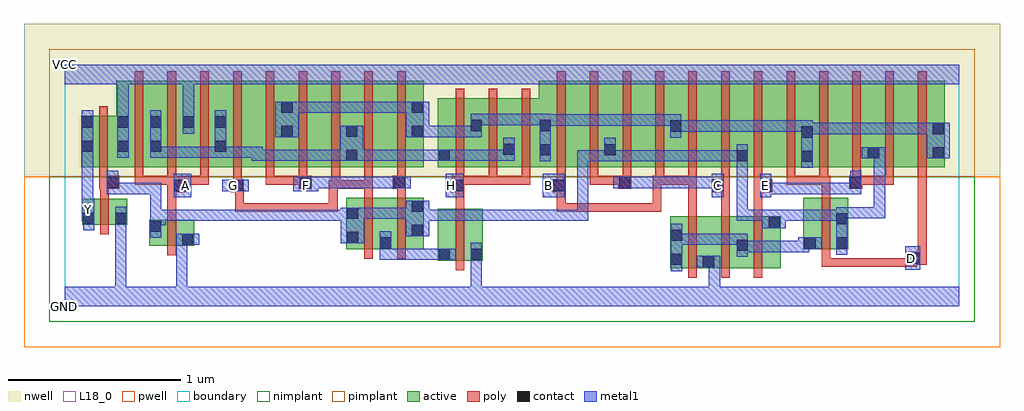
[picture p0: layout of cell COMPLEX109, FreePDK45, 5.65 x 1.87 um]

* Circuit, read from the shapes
.subckt COMPLEX109 A B C D E F G GND H VCC Y
M1 GND n1 Y VSUBS nfet w=0.15u l=0.05u
M2 GND A n1 VSUBS nfet w=0.15u l=0.05u
M3 n2 G n1 VSUBS nfet w=0.3u l=0.05u
M4 n1 F n2 VSUBS nfet w=0.3u l=0.05u
M5 GND H n2 VSUBS nfet w=0.3u l=0.05u
M6 GND B n3 VSUBS nfet w=0.3u l=0.05u
M7 n3 C GND VSUBS nfet w=0.3u l=0.05u
M8 n1 E n3 VSUBS nfet w=0.3u l=0.05u
M9 n1 D n3 VSUBS nfet w=0.3u l=0.05u
M10 VCC n1 Y n4 pfet w=0.3u l=0.05u
M11 n5 A VCC n4 pfet w=0.5u l=0.05u m=3
M12 n6 G n5 n4 pfet w=0.5u l=0.05u
M13 n7 F n6 n4 pfet w=0.5u l=0.05u
M14 n8 F n7 n4 pfet w=0.5u l=0.05u
M15 n5 G n8 n4 pfet w=0.5u l=0.05u
M16 n9 G n5 n4 pfet w=0.5u l=0.05u
M17 n7 F n9 n4 pfet w=0.5u l=0.05u
M18 n7 H n5 n4 pfet w=0.4u l=0.05u m=3
M19 n10 B n7 n4 pfet w=0.5u l=0.05u
M20 n1 C n10 n4 pfet w=0.5u l=0.05u
M21 n11 C n1 n4 pfet w=0.5u l=0.05u
M22 n7 B n11 n4 pfet w=0.5u l=0.05u
M23 n12 B n7 n4 pfet w=0.5u l=0.05u
M24 n1 C n12 n4 pfet w=0.5u l=0.05u
M25 n13 E n1 n4 pfet w=0.5u l=0.05u
M26 n7 D n13 n4 pfet w=0.5u l=0.05u
M27 n14 D n7 n4 pfet w=0.5u l=0.05u
M28 n1 E n14 n4 pfet w=0.5u l=0.05u
M29 n15 E n1 n4 pfet w=0.5u l=0.05u
M30 n7 D n15 n4 pfet w=0.5u l=0.05u
.ends

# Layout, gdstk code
import gdstk
lib = gdstk.Library(unit=1e-6, precision=1e-09)
def R(c, l, rs):  # rectangles x0, y0, x1, y1
    for r in rs: c.add(gdstk.rectangle(r[:2], r[2:], *l))
def A(c, l, x, y, w, h, nx, ny, dx, dy):  # array of equal rectangles
    R(c, l, [(x+i*dx, y+j*dy, x+i*dx+w, y+j*dy+h) for i in range(nx) for j in range(ny)])
active = (1, 0)
pwell = (2, 0)
nwell = (3, 0)
nimplant = (4, 0)
pimplant = (5, 0)
poly = (9, 0)
contact = (10, 0)
metal1 = (11, 0)
L18_0 = (18, 0)
boundary = (235, 0)

complex109 = lib.new_cell('COMPLEX109')
A(complex109, active, 3.5, 0.805, 0.075, 0.395, 3, 1, 0.76, 0)
R(complex109, active, [(3.505,0.222,3.765,0.522), (3.69,0.222,3.96,0.522), (3.69,0.222,3.765,0.392), (3.885,0.222,4.145,0.522), (3.505,0.235,3.58,0.522), (2.16,0.265,2.42,0.565), (2.16,0.265,2.235,0.462), (2.345,0.265,2.42,0.427), (3.885,0.317,3.96,0.392), (1.63,0.33,1.705,0.63), (1.63,0.33,1.895,0.63), (1.82,0.33,2.08,0.63), (1.82,0.33,1.895,0.497), (2.005,0.33,2.08,0.63), (4.07,0.33,4.145,0.522), (4.277,0.33,4.352,0.63), (4.277,0.33,4.537,0.63), (4.462,0.33,4.537,0.63), (0.49,0.352,0.75,0.502), (0.675,0.352,0.75,0.502), (0.49,0.427,0.565,0.502), (0.102,0.472,0.177,0.622), (0.102,0.472,0.362,0.622), (0.287,0.472,0.362,0.622), (0.095,0.805,0.17,1.105), (0.095,0.805,0.375,1.105), (0.3,0.805,0.375,1.105), (0.3,0.805,0.565,1.305), (0.49,0.805,0.565,1.2), (0.49,0.805,0.755,1.305), (0.68,0.805,0.94,1.305), (0.68,0.805,0.755,1.305), (0.865,0.805,0.94,1.2), (0.865,0.805,1.095,1.305), (1.095,0.805,1.325,1.305), (1.25,0.805,1.475,1.305), (1.475,0.805,1.7,1.305), (1.625,0.805,1.7,1.07), (1.625,0.805,1.855,1.305), (1.855,0.805,2.08,1.305), (2.005,0.805,2.08,1.2), (2.16,0.805,2.235,1.07), (2.16,0.805,2.42,1.205), (2.345,0.805,2.42,1.2), (2.345,0.805,2.61,1.205), (2.535,0.805,2.61,1.07), (2.535,0.805,2.82,1.205), (2.745,0.805,2.82,1.2), (2.745,0.805,2.97,1.305), (2.97,0.805,3.195,1.305), (3.12,0.805,3.195,1.07), (3.12,0.805,3.35,1.305), (3.35,0.805,3.575,1.305), (3.5,0.805,3.73,1.305), (3.73,0.805,3.96,1.305), (3.885,0.805,4.11,1.305), (3.885,0.805,3.96,1.07), (4.11,0.805,4.335,1.305), (4.26,0.805,4.49,1.305), (4.49,0.805,4.72,1.305), (4.645,0.805,4.87,1.305), (4.645,0.805,4.72,1.07), (4.87,0.805,5.095,1.305), (1.25,0.807,1.325,1.2)])
R(complex109, pwell, [(-0.235,-0.235,5.415,0.75)])
R(complex109, nwell, [(-0.235,0.75,5.415,1.635)])
R(complex109, nimplant, [(-0.09,-0.09,5.27,0.75)])
R(complex109, pimplant, [(-0.09,0.75,5.27,1.49)])
A(complex109, poly, 3.61, 0.167, 0.05, 0.41, 3, 1, 0.19, 0)
A(complex109, poly, 0.405, 0.705, 0.05, 0.095, 3, 1, 0.19, 0)
A(complex109, poly, 2.265, 0.705, 0.05, 0.095, 3, 1, 0.19, 0)
A(complex109, poly, 3.04, 0.705, 0.05, 0.095, 4, 1, 0.19, 0)
A(complex109, poly, 4.18, 0.705, 0.05, 0.095, 4, 1, 0.19, 0)
A(complex109, poly, 0.405, 0.75, 0.05, 0.61, 9, 1, 0.19, 0)
A(complex109, poly, 2.265, 0.75, 0.05, 0.51, 3, 1, 0.19, 0)
A(complex109, poly, 2.85, 0.75, 0.05, 0.61, 12, 1, 0.19, 0)
R(complex109, poly, [(2.265,0.21,2.315,0.62), (4.382,0.23,4.432,0.28), (4.382,0.23,4.432,0.28), (4.382,0.23,4.432,0.28), (4.382,0.23,4.432,0.325), (4.382,0.23,4.565,0.28), (4.515,0.23,4.565,0.28), (4.515,0.23,4.565,0.28), (4.515,0.23,4.565,0.28), (4.515,0.23,4.565,0.28), (4.515,0.23,4.565,0.28), (4.515,0.23,4.75,0.28), (4.7,0.23,4.75,0.28), (4.7,0.23,4.75,0.28), (4.7,0.23,4.75,0.28), (4.7,0.23,4.932,0.28), (4.882,0.23,4.932,0.28), (4.882,0.23,4.932,0.28), (4.882,0.23,4.932,0.28), (4.882,0.23,4.932,0.292), (4.882,0.242,4.932,0.292), (4.882,0.242,4.932,0.292), (4.882,0.242,4.99,0.317), (4.94,0.267,4.99,0.8), (1.735,0.275,1.785,0.685), (1.925,0.275,1.975,0.685), (4.382,0.275,4.432,0.685), (0.595,0.297,0.645,0.557), (0.207,0.417,0.257,0.677), (0.595,0.507,0.645,0.712), (3.61,0.527,3.66,0.755), (3.8,0.527,3.85,0.712), (3.99,0.527,4.04,0.712), (0.987,0.547,1.037,0.597), (0.987,0.547,1.037,0.597), (0.987,0.547,1.037,0.597), (0.987,0.547,1.037,0.597), (0.987,0.547,1.037,0.597), (0.987,0.547,1.17,0.597), (0.987,0.547,1.037,0.712), (1.12,0.547,1.17,0.597), (1.12,0.547,1.347,0.597), (1.297,0.547,1.347,0.597), (1.297,0.547,1.347,0.597), (1.297,0.547,1.347,0.597), (1.297,0.547,1.58,0.597), (1.53,0.547,1.58,0.597), (1.53,0.547,1.58,0.597), (1.53,0.547,1.58,0.597), (1.53,0.547,1.58,0.73), (2.85,0.547,2.9,0.597), (2.85,0.547,2.9,0.597), (2.85,0.547,2.9,0.597), (2.85,0.547,2.9,0.597), (2.85,0.547,2.9,0.597), (2.85,0.547,3.09,0.597), (2.85,0.547,2.9,0.712), (3.04,0.547,3.09,0.597), (3.04,0.547,3.222,0.597), (3.172,0.547,3.222,0.597), (3.172,0.547,3.222,0.597), (3.172,0.547,3.222,0.597), (3.172,0.547,3.455,0.597), (3.405,0.547,3.455,0.597), (3.405,0.547,3.455,0.597), (3.405,0.547,3.455,0.597), (3.405,0.547,3.455,0.597), (3.405,0.547,3.455,0.597), (3.405,0.547,3.455,0.755), (2.265,0.57,2.315,0.712), (0.207,0.627,0.257,0.73), (1.735,0.635,1.785,0.73), (1.925,0.635,1.975,0.73), (4.382,0.635,4.432,0.755), (0.595,0.662,0.702,0.755), (0.962,0.662,1.037,0.737), (2.24,0.662,2.315,0.755), (2.825,0.662,2.9,0.737), (3.747,0.662,3.85,0.737), (3.99,0.662,4.097,0.737), (0.2,0.68,0.315,0.755), (1.355,0.68,1.43,0.755), (1.53,0.68,1.58,0.73), (1.53,0.68,1.58,0.73), (1.53,0.68,1.595,0.73), (1.545,0.68,1.595,0.8), (1.545,0.68,1.785,0.73), (1.735,0.68,1.785,0.73), (1.735,0.68,1.785,0.73), (1.735,0.68,1.785,0.73), (1.735,0.68,1.785,0.8), (1.9,0.68,1.975,0.755), (3.205,0.68,3.28,0.755), (4.542,0.68,4.617,0.755), (0.975,0.687,1.025,0.8), (2.85,0.687,2.9,0.8), (3.8,0.687,3.85,0.8), (3.99,0.687,4.04,0.8), (0.2,0.705,0.25,0.8), (0.405,0.705,0.455,0.755), (0.405,0.705,0.455,0.755), (0.405,0.705,0.455,0.755), (0.405,0.705,0.645,0.755), (0.652,0.705,0.835,0.755), (0.785,0.705,0.835,0.755), (0.785,0.705,0.835,0.755), (0.785,0.705,0.835,0.755), (1.165,0.705,1.215,0.755), (1.165,0.705,1.215,0.8), (1.165,0.705,1.405,0.755), (1.355,0.705,1.405,0.755), (1.355,0.705,1.405,0.755), (1.355,0.705,1.405,0.8), (1.925,0.705,1.975,0.8), (2.265,0.705,2.315,0.755), (2.265,0.705,2.315,0.755), (2.265,0.705,2.505,0.755), (2.455,0.705,2.505,0.755), (2.455,0.705,2.505,0.755), (2.455,0.705,2.505,0.755), (2.455,0.705,2.695,0.755), (2.645,0.705,2.695,0.755), (3.04,0.705,3.09,0.755), (3.04,0.705,3.255,0.755), (3.205,0.705,3.255,0.755), (3.205,0.705,3.255,0.755), (3.405,0.705,3.47,0.755), (3.42,0.705,3.66,0.755), (3.61,0.705,3.66,0.755), (3.61,0.705,3.66,0.755), (3.61,0.705,3.66,0.755), (4.18,0.705,4.23,0.755), (4.18,0.705,4.23,0.755), (4.18,0.705,4.23,0.755), (4.18,0.705,4.42,0.755), (4.37,0.705,4.432,0.755), (4.567,0.705,4.617,0.755), (4.567,0.705,4.617,0.755), (4.567,0.705,4.8,0.755), (4.75,0.705,4.8,0.755), (0.2,0.75,0.25,1.16)])
A(complex109, contact, 0.305, 1.035, 0.065, 0.065, 3, 1, 0.19, 0)
R(complex109, contact, [(3.695,0.227,3.76,0.292), (3.51,0.24,3.575,0.305), (4.887,0.247,4.952,0.312), (2.165,0.27,2.23,0.335), (2.35,0.27,2.415,0.335), (3.89,0.322,3.955,0.387), (1.825,0.335,1.89,0.4), (4.282,0.335,4.347,0.4), (4.467,0.335,4.532,0.4), (0.68,0.357,0.745,0.422), (1.635,0.367,1.7,0.432), (3.51,0.38,3.575,0.445), (2.01,0.407,2.075,0.472), (0.495,0.432,0.56,0.497), (4.075,0.452,4.14,0.517), (4.467,0.475,4.532,0.54), (0.107,0.477,0.172,0.542), (0.292,0.477,0.357,0.542), (1.635,0.507,1.7,0.572), (2.01,0.547,2.075,0.612), (0.632,0.667,0.697,0.732), (0.967,0.667,1.032,0.732), (2.245,0.667,2.31,0.732), (2.83,0.667,2.895,0.732), (3.752,0.667,3.817,0.732), (4.027,0.667,4.092,0.732), (0.245,0.685,0.31,0.75), (1.36,0.685,1.425,0.75), (1.905,0.685,1.97,0.75), (3.21,0.685,3.275,0.75), (4.547,0.685,4.612,0.75), (4.265,0.837,4.33,0.902), (3.89,0.84,3.955,0.905), (1.63,0.842,1.695,0.907), (2.165,0.842,2.23,0.907), (4.65,0.857,4.715,0.922), (5.025,0.857,5.09,0.922), (2.75,0.875,2.815,0.94), (3.125,0.875,3.19,0.94), (2.54,0.877,2.605,0.942), (0.1,0.895,0.165,0.96), (0.305,0.895,0.37,0.96), (0.495,0.895,0.56,0.96), (0.87,0.895,0.935,0.96), (4.265,0.977,4.33,1.042), (1.255,0.98,1.32,1.045), (2.01,0.98,2.075,1.045), (1.63,0.982,1.695,1.047), (5.025,0.997,5.09,1.062), (3.505,1.012,3.57,1.077), (2.35,1.015,2.415,1.08), (2.75,1.015,2.815,1.08), (0.1,1.035,0.165,1.1), (0.87,1.035,0.935,1.1), (1.255,1.12,1.32,1.185), (2.01,1.12,2.075,1.185)])
R(complex109, metal1, [(0,0,5.18,0.115), (0.292,0.05,0.357,0.115), (0.292,0.05,0.357,0.115), (0.292,0.05,0.357,0.115), (0.292,0.05,0.357,0.115), (0.292,0.05,0.357,0.507), (0.645,0.05,0.71,0.115), (0.645,0.05,0.71,0.115), (0.645,0.05,0.71,0.115), (0.645,0.05,0.71,0.115), (0.645,0.05,0.71,0.115), (0.645,0.05,0.71,0.115), (0.645,0.05,0.71,0.422), (2.35,0.05,2.415,0.115), (2.35,0.05,2.415,0.115), (2.35,0.05,2.415,0.115), (2.35,0.05,2.415,0.115), (2.35,0.05,2.415,0.3), (3.73,0.05,3.795,0.115), (3.73,0.05,3.795,0.115), (3.73,0.05,3.795,0.115), (3.73,0.05,3.795,0.115), (3.73,0.05,3.795,0.292), (3.51,0.205,3.575,0.48), (4.867,0.212,4.952,0.347), (3.66,0.227,3.795,0.292), (2.35,0.235,2.415,0.37), (1.825,0.27,2.135,0.335), (1.825,0.27,1.89,0.365), (2.07,0.27,2.135,0.335), (2.07,0.27,2.195,0.335), (2.13,0.27,2.265,0.335), (3.89,0.287,3.955,0.422), (1.825,0.3,1.89,0.365), (1.825,0.3,1.89,0.435), (4.467,0.3,4.532,0.575), (3.89,0.315,4.092,0.38), (4.027,0.315,4.092,0.38), (4.027,0.315,4.092,0.38), (4.027,0.315,4.092,0.38), (4.027,0.315,4.312,0.38), (4.247,0.315,4.312,0.4), (4.247,0.335,4.312,0.4), (4.247,0.335,4.382,0.4), (0.645,0.357,0.78,0.422), (3.51,0.357,3.585,0.422), (3.52,0.357,3.585,0.422), (3.52,0.357,3.817,0.422), (3.752,0.357,3.817,0.422), (3.752,0.357,3.947,0.422), (3.882,0.357,3.947,0.422), (3.882,0.357,3.955,0.422), (1.6,0.367,1.735,0.572), (0.495,0.397,0.56,0.535), (1.975,0.407,2.11,0.612), (0.107,0.442,0.172,0.577), (0.292,0.442,0.357,0.507), (0.292,0.442,0.357,0.507), (0.292,0.442,0.357,0.577), (4.04,0.452,4.175,0.56), (0.495,0.47,0.585,0.535), (0.495,0.47,0.56,0.715), (0.52,0.47,0.585,0.56), (0.1,0.492,0.172,0.627), (0.52,0.495,0.722,0.56), (0.657,0.495,0.722,0.56), (0.657,0.495,0.722,0.56), (0.657,0.495,0.722,0.56), (0.657,0.495,1.01,0.56), (0.945,0.495,1.01,0.56), (0.945,0.495,1.01,0.56), (0.945,0.495,1.01,0.56), (0.945,0.495,1.147,0.56), (1.082,0.495,1.147,0.56), (1.082,0.495,1.147,0.56), (1.082,0.495,1.147,0.56), (1.082,0.495,1.285,0.56), (1.22,0.495,1.285,0.56), (1.22,0.495,1.285,0.56), (1.22,0.495,1.285,0.56), (1.22,0.495,1.492,0.56), (1.427,0.495,1.492,0.56), (1.427,0.495,1.605,0.56), (1.54,0.495,1.605,0.56), (1.54,0.495,1.665,0.56), (2.045,0.495,2.11,0.56), (2.045,0.495,2.11,0.56), (2.045,0.495,2.402,0.56), (2.337,0.495,2.402,0.56), (2.337,0.495,2.402,0.56), (2.337,0.495,2.402,0.56), (2.337,0.495,2.552,0.56), (2.487,0.495,2.552,0.56), (2.487,0.495,2.552,0.56), (2.487,0.495,2.552,0.56), (2.487,0.495,2.69,0.56), (2.625,0.495,2.69,0.56), (2.625,0.495,2.895,0.56), (2.83,0.495,2.895,0.56), (2.83,0.495,2.895,0.56), (2.83,0.495,2.895,0.56), (2.83,0.495,3.032,0.56), (2.967,0.495,3.032,0.56), (2.967,0.495,3.032,0.905), (3.89,0.495,3.955,0.56), (3.89,0.495,4.105,0.56), (3.89,0.495,3.955,0.87), (4.04,0.495,4.105,0.56), (4.04,0.495,4.105,0.56), (4.11,0.495,4.33,0.56), (4.265,0.495,4.33,0.56), (4.265,0.495,4.33,0.56), (4.265,0.495,4.33,0.56), (4.265,0.495,4.475,0.56), (4.41,0.495,4.475,0.56), (4.41,0.495,4.532,0.56), (1.67,0.507,1.742,0.572), (1.677,0.507,1.742,0.572), (1.677,0.507,1.89,0.572), (1.825,0.507,1.89,0.572), (1.825,0.507,1.89,0.572), (1.825,0.507,1.89,0.572), (1.825,0.507,2.04,0.572), (4.467,0.51,4.657,0.575), (4.592,0.51,4.657,0.575), (4.592,0.51,4.75,0.575), (4.685,0.51,4.75,0.575), (4.685,0.51,4.75,0.922), (0.107,0.512,0.172,0.577), (0.1,0.562,0.165,0.925), (0.632,0.632,0.732,0.767), (2.207,0.632,2.31,0.767), (2.767,0.632,2.895,0.767), (3.747,0.632,3.817,0.767), (4.027,0.632,4.092,0.767), (0.245,0.65,0.31,0.715), (0.245,0.65,0.31,0.715), (0.245,0.65,0.31,0.785), (0.245,0.65,0.447,0.715), (0.382,0.65,0.447,0.715), (0.382,0.65,0.56,0.715), (0.495,0.65,0.56,0.715), (4.027,0.65,4.092,0.715), (4.027,0.65,4.092,0.715), (4.027,0.65,4.33,0.715), (4.265,0.65,4.33,0.715), (4.265,0.65,4.33,0.715), (4.265,0.65,4.33,0.715), (4.265,0.65,4.467,0.715), (4.402,0.65,4.467,0.715), (4.402,0.65,4.467,0.715), (4.402,0.65,4.467,0.715), (4.402,0.65,4.612,0.715), (4.547,0.65,4.612,0.785), (0.912,0.667,1.067,0.732), (1.325,0.667,1.467,0.75), (1.402,0.685,1.492,0.75), (1.427,0.685,1.492,0.75), (1.427,0.685,1.605,0.75), (1.54,0.685,1.605,0.75), (1.54,0.685,1.752,0.75), (1.687,0.685,1.752,0.75), (1.687,0.685,1.752,0.75), (1.687,0.685,1.752,0.75), (1.687,0.685,1.89,0.75), (1.825,0.685,1.89,0.75), (1.825,0.685,1.935,0.75), (1.87,0.685,2.005,0.75), (3.175,0.685,3.31,0.75), (3.245,0.685,3.432,0.75), (3.367,0.685,3.432,0.75), (3.367,0.685,3.447,0.75), (3.382,0.685,3.447,0.75), (3.382,0.685,3.585,0.75), (3.52,0.685,3.585,0.75), (3.52,0.685,3.585,0.75), (3.52,0.685,3.585,0.75), (3.52,0.685,3.812,0.75), (3.747,0.685,3.812,0.75), (3.747,0.685,3.812,0.75), (4.265,0.802,4.33,1.077), (3.89,0.805,3.955,0.87), (3.89,0.805,3.955,0.87), (3.89,0.805,3.955,0.94), (2.75,0.84,2.815,1.115), (2.967,0.84,3.032,0.905), (2.967,0.84,3.032,0.905), (2.967,0.84,3.032,0.905), (2.967,0.84,3.032,0.905), (2.967,0.84,3.032,0.905), (2.967,0.84,3.19,0.905), (3.125,0.84,3.19,0.905), (3.125,0.84,3.19,0.905), (3.125,0.84,3.19,0.975), (3.125,0.84,3.432,0.905), (3.367,0.84,3.432,0.905), (3.367,0.84,3.447,0.905), (3.382,0.84,3.447,0.905), (3.382,0.84,3.587,0.905), (3.522,0.84,3.587,0.905), (3.522,0.84,3.587,0.905), (3.522,0.84,3.587,0.905), (3.522,0.84,3.817,0.905), (3.752,0.84,3.817,0.905), (3.752,0.84,3.817,0.905), (3.752,0.84,3.817,0.905), (3.752,0.84,3.955,0.905), (1.082,0.842,1.147,0.907), (1.082,0.842,1.147,0.907), (1.082,0.842,1.355,0.907), (1.082,0.842,1.147,0.925), (1.29,0.842,1.355,0.907), (1.29,0.842,1.355,0.907), (1.29,0.842,1.355,0.907), (1.29,0.842,1.492,0.907), (1.427,0.842,1.492,0.907), (1.427,0.842,1.605,0.907), (1.54,0.842,1.605,0.907), (1.54,0.842,1.66,0.907), (1.595,0.842,1.73,1.047), (1.665,0.842,1.752,0.907), (1.687,0.842,1.752,0.907), (1.687,0.842,1.89,0.907), (1.825,0.842,1.89,0.907), (1.825,0.842,1.89,0.907), (1.825,0.842,1.89,0.907), (1.825,0.842,2.027,0.907), (1.962,0.842,2.027,0.907), (1.962,0.842,2.195,0.907), (2.13,0.842,2.265,0.907), (2.2,0.842,2.402,0.907), (2.337,0.842,2.402,0.907), (2.337,0.842,2.402,0.907), (2.337,0.842,2.402,0.907), (2.337,0.842,2.552,0.907), (2.487,0.842,2.552,0.907), (2.487,0.842,2.605,0.907), (2.54,0.842,2.605,0.977), (4.615,0.857,4.75,0.922), (4.685,0.857,4.75,0.922), (4.685,0.857,4.75,0.922), (4.99,0.857,5.125,1.062), (0.1,0.86,0.165,1.135), (0.305,0.86,0.37,1.135), (0.495,0.86,0.56,1.135), (0.495,0.86,0.585,0.925), (0.52,0.86,0.585,0.925), (0.52,0.86,0.722,0.925), (0.657,0.86,0.722,0.925), (0.657,0.86,0.722,0.925), (0.657,0.86,0.722,0.925), (0.657,0.86,0.935,0.925), (0.87,0.86,0.935,0.925), (0.87,0.86,0.935,0.925), (0.87,0.86,0.935,1.135), (0.87,0.86,1.147,0.925), (3.505,0.977,3.57,1.112), (1.22,0.98,1.355,1.185), (1.975,0.98,2.11,1.185), (2.045,0.98,2.11,1.045), (2.045,0.98,2.11,1.045), (2.045,0.98,2.415,1.045), (2.35,0.98,2.415,1.045), (2.35,0.98,2.415,1.045), (2.35,0.98,2.415,1.115), (4.265,0.997,4.475,1.062), (4.41,0.997,4.475,1.062), (4.41,0.997,4.475,1.062), (4.41,0.997,4.475,1.062), (4.41,0.997,4.657,1.062), (4.592,0.997,4.657,1.062), (4.592,0.997,4.67,1.062), (4.605,0.997,4.67,1.062), (4.605,0.997,4.795,1.062), (4.73,0.997,4.795,1.062), (4.73,0.997,4.807,1.062), (4.742,0.997,4.807,1.062), (4.742,0.997,5.055,1.062), (4.99,0.997,5.055,1.062), (4.99,0.997,5.055,1.062), (0.685,1,0.75,1.135), (3.505,1.012,3.585,1.077), (3.52,1.012,3.585,1.077), (3.52,1.012,3.817,1.077), (3.752,1.012,3.817,1.077), (3.752,1.012,3.817,1.077), (3.752,1.012,3.817,1.077), (3.752,1.012,3.955,1.077), (3.89,1.012,3.955,1.077), (3.89,1.012,4.092,1.077), (4.027,1.012,4.092,1.077), (4.027,1.012,4.092,1.077), (4.027,1.012,4.092,1.077), (4.027,1.012,4.33,1.077), (4.265,1.012,4.33,1.077), (4.265,1.012,4.33,1.077), (2.75,1.047,2.827,1.112), (2.762,1.047,2.827,1.112), (2.762,1.047,3.032,1.112), (2.967,1.047,3.032,1.112), (2.967,1.047,3.032,1.112), (2.967,1.047,3.032,1.112), (2.967,1.047,3.295,1.112), (3.23,1.047,3.295,1.112), (3.23,1.047,3.295,1.112), (3.23,1.047,3.295,1.112), (3.23,1.047,3.432,1.112), (3.367,1.047,3.432,1.112), (3.367,1.047,3.447,1.112), (3.382,1.047,3.447,1.112), (3.382,1.047,3.57,1.112), (2.35,1.05,2.552,1.115), (2.487,1.05,2.552,1.115), (2.487,1.05,2.552,1.115), (2.487,1.05,2.552,1.115), (2.487,1.05,2.69,1.115), (2.625,1.05,2.69,1.115), (2.625,1.05,2.815,1.115), (0.305,1.07,0.37,1.35), (0.685,1.07,0.75,1.35), (1.29,1.12,1.355,1.185), (1.29,1.12,1.355,1.185), (1.29,1.12,1.492,1.185), (1.427,1.12,1.492,1.185), (1.427,1.12,1.605,1.185), (1.54,1.12,1.605,1.185), (1.54,1.12,1.752,1.185), (1.687,1.12,1.752,1.185), (1.687,1.12,1.752,1.185), (1.687,1.12,1.752,1.185), (1.687,1.12,1.89,1.185), (1.825,1.12,1.89,1.185), (1.825,1.12,1.89,1.185), (1.825,1.12,1.89,1.185), (1.825,1.12,2.04,1.185), (0,1.285,5.18,1.4)])
R(complex109, L18_0, [(0,0,5.18,0.115), (0.292,0.05,0.357,0.115), (0.292,0.05,0.357,0.115), (0.292,0.05,0.357,0.115), (0.292,0.05,0.357,0.115), (0.292,0.05,0.357,0.507), (0.645,0.05,0.71,0.115), (0.645,0.05,0.71,0.115), (0.645,0.05,0.71,0.115), (0.645,0.05,0.71,0.115), (0.645,0.05,0.71,0.115), (0.645,0.05,0.71,0.115), (0.645,0.05,0.71,0.422), (2.35,0.05,2.415,0.115), (2.35,0.05,2.415,0.115), (2.35,0.05,2.415,0.115), (2.35,0.05,2.415,0.115), (2.35,0.05,2.415,0.3), (3.73,0.05,3.795,0.115), (3.73,0.05,3.795,0.115), (3.73,0.05,3.795,0.115), (3.73,0.05,3.795,0.115), (3.73,0.05,3.795,0.292), (4.867,0.212,4.952,0.347), (3.66,0.227,3.795,0.292), (2.35,0.235,2.415,0.37), (4.867,0.247,4.932,0.312), (0.645,0.357,0.78,0.422), (0.107,0.442,0.172,0.577), (0.292,0.442,0.357,0.577), (0.292,0.442,0.357,0.507), (0.292,0.442,0.357,0.507), (0.1,0.492,0.172,0.627), (0.107,0.512,0.172,0.577), (0.107,0.527,0.172,0.592), (0.1,0.562,0.165,0.925), (0.632,0.632,0.732,0.767), (2.207,0.632,2.31,0.767), (2.767,0.632,2.895,0.767), (3.747,0.632,3.817,0.767), (4.027,0.632,4.092,0.767), (4.027,0.65,4.092,0.715), (4.027,0.65,4.092,0.715), (4.027,0.65,4.33,0.715), (4.265,0.65,4.33,0.715), (4.265,0.65,4.33,0.715), (4.265,0.65,4.33,0.715), (4.265,0.65,4.467,0.715), (4.402,0.65,4.467,0.715), (4.402,0.65,4.467,0.715), (4.402,0.65,4.467,0.715), (4.402,0.65,4.612,0.715), (4.547,0.65,4.612,0.785), (0.667,0.667,0.732,0.732), (0.912,0.667,1.067,0.732), (0.947,0.667,1.012,0.732), (1.325,0.667,1.467,0.75), (1.367,0.667,1.432,0.732), (2.207,0.667,2.272,0.732), (2.767,0.667,2.832,0.732), (3.747,0.667,3.812,0.732), (4.027,0.667,4.092,0.732), (1.402,0.685,1.492,0.75), (1.427,0.685,1.492,0.75), (1.427,0.685,1.605,0.75), (1.54,0.685,1.605,0.75), (1.54,0.685,1.752,0.75), (1.687,0.685,1.752,0.75), (1.687,0.685,1.752,0.75), (1.687,0.685,1.752,0.75), (1.687,0.685,1.89,0.75), (1.825,0.685,1.89,0.75), (1.825,0.685,1.935,0.75), (1.87,0.685,2.005,0.75), (3.175,0.685,3.31,0.75), (3.245,0.685,3.432,0.75), (3.367,0.685,3.432,0.75), (3.367,0.685,3.447,0.75), (3.382,0.685,3.447,0.75), (3.382,0.685,3.585,0.75), (3.52,0.685,3.585,0.75), (3.52,0.685,3.585,0.75), (3.52,0.685,3.585,0.75), (3.52,0.685,3.812,0.75), (3.747,0.685,3.812,0.75), (3.747,0.685,3.812,0.75), (0.1,0.86,0.165,1.135), (0.305,0.86,0.37,1.135), (0.685,1,0.75,1.135), (0.305,1.07,0.37,1.35), (0.685,1.07,0.75,1.35), (0,1.285,5.18,1.4)])
R(complex109, boundary, [(0,0,5.18,1.4)])
complex109.add(gdstk.Label('A', (0.7,0.7), layer=11, texttype=0))
complex109.add(gdstk.Label('B', (2.8,0.7), layer=11, texttype=0))
complex109.add(gdstk.Label('C', (3.78,0.7), layer=11, texttype=0))
complex109.add(gdstk.Label('D', (4.9,0.28), layer=11, texttype=0))
complex109.add(gdstk.Label('E', (4.06,0.7), layer=11, texttype=0))
complex109.add(gdstk.Label('F', (1.4,0.7), layer=11, texttype=0))
complex109.add(gdstk.Label('G', (0.98,0.7), layer=11, texttype=0))
complex109.add(gdstk.Label('H', (2.24,0.7), layer=11, texttype=0))
complex109.add(gdstk.Label('Y', (0.14,0.56), layer=11, texttype=0))
complex109.add(gdstk.Label('VCC', (0,1.4), layer=11, texttype=0))
complex109.add(gdstk.Label('GND', (0,0), layer=11, texttype=0))

lib.write_gds('COMPLEX109.gds')
